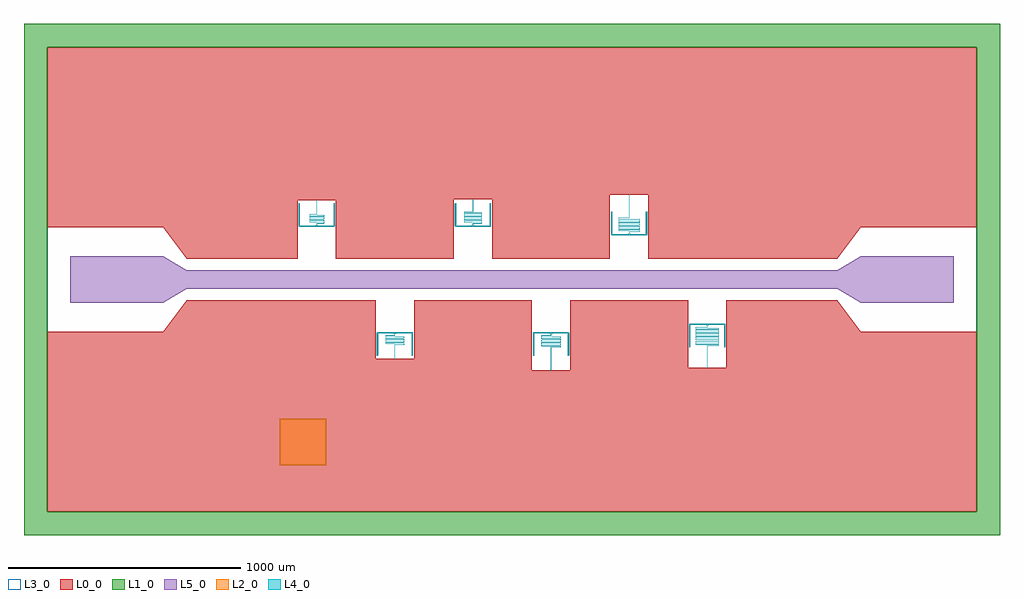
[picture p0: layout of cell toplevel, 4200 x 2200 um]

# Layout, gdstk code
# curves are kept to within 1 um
import gdstk
lib = gdstk.Library(unit=1e-6, precision=1e-09)
def R(c, l, rs):  # rectangles x0, y0, x1, y1
    for r in rs: c.add(gdstk.rectangle(r[:2], r[2:], *l))
def P(c, l, *ps):  # polygons
    for p in ps: c.add(gdstk.Polygon(p, *l))
L0_0 = (0, 0)
L1_0 = (1, 0)
L2_0 = (2, 0)
L3_0 = (3, 0)
L4_0 = (4, 0)
L5_0 = (5, 0)

toplevel = lib.new_cell('toplevel')
P(toplevel, L0_0, [(-757.5,341),(-757.5,90),(-250.5,90),(-250.5,346),(-85.5,346),(-85.5,90),(421.5,90),(421.5,365),(586.5,365),(586.5,90),(1400,90),(1500,225),(2000,225),(2000,1000),(-2000,1000),(-2000,225),(-1500,225),(-1400,90),(-922.5,90),(-922.5,341)],
  [(1400,-90),(922.5,-90),(922.5,-380),(757.5,-380),(757.5,-90),(250.5,-90),(250.5,-391),(85.5,-391),(85.5,-90),(-421.5,-90),(-421.5,-341),(-586.5,-341),(-586.5,-90),(-1400,-90),(-1500,-225),(-2000,-225),(-2000,-1000),(2000,-1000),(2000,-225),(1500,-225)])
P(toplevel, L1_0, [(2100,1100),(-2100,1100),(-2100,-1000),(-2000,-1000),(-2000,1000),(2000,1000),(2000,-1000),(-2000,-1000),(-2100,-1000),(-2100,-1100),(2100,-1100)])
R(toplevel, L2_0, [(-1000,-800,-800,-600)])
R(toplevel, L3_0, [(-2000,-1000,2000,1000)])
P(toplevel, L4_0, [(-839.7,239.925),(-839.566,240.536),(-839.02,240.699),(-809.78,240.71),(-808.933,241.13),(-808.7,242.101),(-808.75,245.468),(-809.13,246.067),(-809.828,246.293),(-869.888,246.3),(-870.646,246.605),(-870.689,250.197),(-870.127,250.695),(-809.923,250.702),(-808.79,251.401),(-808.738,255.416),(-809.1,256.044),(-809.81,256.292),(-869.888,256.3),(-870.644,256.598),(-870.682,260.251),(-870.145,260.694),(-809.946,260.701),(-808.797,261.381),(-808.733,265.39),(-809.058,266.008),(-809.816,266.292),(-869.95,266.3),(-870.64,266.589),(-870.687,270.21),(-870.15,270.693),(-810.008,270.7),(-808.81,271.348),(-808.736,275.403),(-809.082,276.029),(-809.786,276.29),(-869.95,276.3),(-870.632,276.57),(-870.691,280.176),(-870.247,280.682),(-840.963,280.701),(-839.834,281.296),(-839.7,341),(-840.3,341),(-840.375,281.555),(-841.02,281.3),(-870.364,281.271),(-871.272,280.358),(-871.178,276.322),(-869.986,275.7),(-809.85,275.693),(-809.312,275.206),(-809.364,271.579),(-810.05,271.3),(-870.214,271.29),(-870.918,271.029),(-871.263,270.409),(-871.198,266.368),(-870.763,265.864),(-869.992,265.7),(-809.864,265.694),(-809.31,265.189),(-809.365,261.576),(-809.985,261.301),(-870.19,261.292),(-870.918,261.029),(-871.264,260.403),(-871.208,256.394),(-870.077,255.702),(-809.855,255.694),(-809.309,255.176),(-809.356,251.598),(-810.112,251.3),(-870.22,251.289),(-870.912,251.034),(-871.265,250.396),(-871.232,246.467),(-870.814,245.894),(-870.077,245.702),(-809.824,245.691),(-809.315,245.227),(-809.308,241.828),(-809.985,241.301),(-839.481,241.246),(-840.278,240.32),(-840.3,236),(-850,231),(-910.62,231),(-912.259,231.263),(-912.5,232.9),(-912.502,326.109),(-912.952,327.434),(-914.043,328.31),(-915.326,328.479),(-916.607,327.915),(-917.266,327.056),(-917.5,326),(-917.475,231.954),(-916.915,229.4),(-915.563,227.507),(-913.447,226.346),(-910.644,226),(-769.356,226),(-766.888,226.253),(-764.934,227.118),(-763.131,229.296),(-762.504,232.513),(-762.5,326),(-763.085,327.607),(-764.353,328.415),(-765.752,328.384),(-766.983,327.522),(-767.498,326.109),(-767.5,232.88),(-767.751,231.251),(-769.38,231),(-830,231),(-839.7,236)],
  [(-504.302,-240.077),(-504.443,-240.546),(-504.919,-240.697),(-542.377,-240.731),(-543.085,-241.155),(-543.3,-242.058),(-543.267,-245.39),(-542.965,-245.987),(-542.39,-246.267),(-466.01,-246.3),(-465.432,-246.466),(-465.3,-247.122),(-465.32,-250.259),(-465.891,-250.696),(-541.981,-250.7),(-542.75,-250.857),(-543.19,-251.348),(-543.261,-255.416),(-542.9,-256.044),(-542.172,-256.293),(-466.06,-256.3),(-465.367,-256.573),(-465.313,-260.214),(-465.877,-260.695),(-541.975,-260.7),(-542.73,-260.847),(-543.172,-261.309),(-543.263,-265.409),(-542.906,-266.039),(-542.172,-266.293),(-466.06,-266.3),(-465.376,-266.552),(-465.313,-270.21),(-465.877,-270.695),(-541.97,-270.7),(-543.15,-271.263),(-543.265,-275.396),(-542.912,-276.034),(-542.178,-276.293),(-466.065,-276.3),(-465.388,-276.529),(-465.309,-280.18),(-465.79,-280.687),(-503.003,-280.7),(-504.117,-281.205),(-504.3,-341),(-503.7,-341),(-503.606,-281.518),(-502.96,-281.3),(-465.693,-281.28),(-465.041,-280.992),(-464.728,-280.358),(-464.864,-276.237),(-466.03,-275.7),(-542.123,-275.695),(-542.687,-275.21),(-542.618,-271.54),(-541.935,-271.3),(-465.828,-271.293),(-465.093,-271.039),(-464.736,-270.403),(-464.837,-266.289),(-466.025,-265.7),(-542.123,-265.695),(-542.687,-265.21),(-542.628,-261.561),(-541.94,-261.3),(-465.828,-261.293),(-465.099,-261.044),(-464.738,-260.416),(-464.816,-256.335),(-465.263,-255.85),(-466.025,-255.7),(-542.123,-255.695),(-542.687,-255.214),(-542.636,-251.579),(-541.94,-251.3),(-465.852,-251.295),(-465.07,-251.019),(-464.736,-250.403),(-464.8,-246.375),(-465.218,-245.875),(-465.969,-245.701),(-542.167,-245.692),(-542.685,-245.227),(-542.694,-241.855),(-542.548,-241.444),(-542.077,-241.302),(-504.584,-241.261),(-503.986,-240.936),(-503.726,-240.345),(-503.7,-236),(-494,-231),(-433.38,-231),(-431.741,-231.263),(-431.5,-232.88),(-431.498,-326.109),(-431.048,-327.434),(-429.957,-328.31),(-428.674,-328.479),(-427.393,-327.915),(-426.734,-327.056),(-426.5,-326),(-426.525,-231.954),(-427.1,-229.365),(-428.437,-227.507),(-430.552,-226.346),(-433.356,-226),(-574.644,-226),(-577.112,-226.253),(-579.066,-227.118),(-580.853,-229.261),(-581.496,-232.513),(-581.5,-326),(-580.915,-327.607),(-579.647,-328.415),(-578.248,-328.384),(-577.017,-327.522),(-576.502,-326.109),(-576.5,-232.88),(-576.254,-231.257),(-574.62,-231),(-514,-231),(-504.3,-236)],
  [(-167.7,239.93),(-167.559,240.544),(-167.005,240.699),(-131.316,240.707),(-130.461,241.093),(-130.2,242.101),(-130.257,245.494),(-130.624,246.062),(-131.358,246.295),(-204.388,246.3),(-205.148,246.612),(-205.184,250.239),(-204.654,250.693),(-131.463,250.701),(-130.718,250.875),(-130.3,251.375),(-130.236,255.403),(-130.57,256.019),(-131.346,256.294),(-204.445,256.3),(-205.139,256.586),(-205.187,260.214),(-204.627,260.695),(-131.519,260.7),(-130.75,260.857),(-130.31,261.348),(-130.238,265.416),(-130.593,266.039),(-131.322,266.293),(-204.44,266.3),(-205.132,266.57),(-205.187,270.21),(-204.627,270.695),(-131.525,270.7),(-130.776,270.843),(-130.331,271.302),(-130.236,275.403),(-130.593,276.039),(-131.322,276.293),(-204.44,276.3),(-205.121,276.546),(-205.187,280.21),(-204.627,280.695),(-131.53,280.7),(-130.357,281.25),(-130.235,285.396),(-130.587,286.034),(-131.316,286.292),(-204.435,286.3),(-205.109,286.524),(-205.191,290.176),(-204.714,290.687),(-168.991,290.701),(-167.89,291.192),(-167.7,346),(-168.3,346),(-168.399,291.511),(-169.04,291.3),(-204.82,291.278),(-205.47,290.982),(-205.774,290.345),(-205.629,286.224),(-204.47,285.7),(-131.373,285.695),(-130.812,285.206),(-130.885,281.535),(-131.56,281.3),(-204.684,281.292),(-205.412,281.034),(-205.765,280.396),(-205.657,276.276),(-205.211,275.837),(-204.475,275.7),(-131.373,275.695),(-130.813,275.21),(-130.873,271.558),(-131.56,271.3),(-204.678,271.293),(-205.406,271.039),(-205.763,270.409),(-205.681,266.328),(-205.237,265.85),(-204.481,265.7),(-131.373,265.695),(-130.813,265.214),(-130.864,261.579),(-131.555,261.3),(-204.678,261.293),(-205.406,261.039),(-205.762,260.416),(-205.695,256.361),(-205.256,255.86),(-204.481,255.7),(-131.386,255.696),(-130.819,255.255),(-130.855,251.602),(-131.505,251.3),(-204.653,251.294),(-205.394,251.048),(-205.765,250.396),(-205.708,246.394),(-205.224,245.843),(-204.388,245.7),(-131.346,245.693),(-130.944,245.548),(-130.801,245.044),(-130.808,241.828),(-131.172,241.334),(-167.428,241.259),(-168.019,240.93),(-168.275,240.339),(-168.3,236),(-178,231),(-238.62,231),(-240.243,231.246),(-240.5,232.9),(-240.502,326.109),(-240.952,327.434),(-242.043,328.31),(-243.326,328.479),(-244.607,327.915),(-245.266,327.056),(-245.5,326),(-245.475,231.954),(-244.915,229.4),(-243.563,227.507),(-241.447,226.346),(-238.644,226),(-97.356,226),(-94.888,226.253),(-92.934,227.118),(-91.869,228.1),(-91.1,229.365),(-90.503,232.563),(-90.5,326),(-91.085,327.607),(-92.353,328.415),(-93.752,328.384),(-94.983,327.522),(-95.498,326.109),(-95.5,232.88),(-95.751,231.251),(-97.38,231),(-158,231),(-167.7,236)],
  [(167.697,-240.077),(167.527,-240.574),(166.899,-240.7),(127.699,-240.719),(126.961,-241.093),(126.701,-241.98),(126.729,-245.364),(127.007,-245.959),(127.493,-246.24),(208.091,-246.303),(208.544,-246.441),(208.695,-246.868),(208.695,-250.123),(208.427,-250.633),(127.876,-250.704),(127.082,-250.971),(126.715,-251.73),(126.725,-255.339),(127.296,-256.166),(208.114,-256.304),(208.548,-256.444),(208.689,-256.807),(208.494,-260.598),(127.876,-260.704),(127.058,-260.991),(126.717,-261.718),(126.712,-265.238),(127.142,-266.076),(128.111,-266.3),(208.114,-266.304),(208.688,-266.798),(208.53,-270.572),(127.882,-270.704),(127.099,-270.956),(126.731,-271.623),(126.704,-275.124),(127.013,-275.965),(128.111,-276.3),(208.109,-276.304),(208.687,-276.786),(208.559,-280.544),(127.888,-280.704),(127.148,-280.92),(126.75,-281.532),(126.7,-284.997),(127.013,-285.965),(127.957,-286.299),(207.94,-286.3),(208.644,-286.598),(208.689,-290.193),(208.206,-290.688),(168.98,-290.701),(168.231,-290.868),(167.8,-291.375),(167.7,-391),(168.3,-391),(168.359,-291.592),(169.03,-291.3),(208.294,-291.281),(208.948,-291.003),(209.267,-290.39),(209.205,-286.388),(208.763,-285.864),(207.981,-285.7),(127.882,-285.695),(127.314,-285.218),(127.353,-281.608),(128.055,-281.3),(208.165,-281.294),(208.894,-281.048),(209.259,-280.428),(209.217,-276.421),(208.782,-275.875),(207.981,-275.7),(127.882,-275.695),(127.314,-275.223),(127.348,-271.622),(128.055,-271.3),(208.165,-271.294),(208.894,-271.048),(209.257,-270.435),(209.226,-266.447),(208.788,-265.879),(207.981,-265.7),(127.882,-265.695),(127.314,-265.223),(127.344,-261.636),(128.055,-261.3),(208.165,-261.294),(208.894,-261.048),(209.257,-260.435),(209.234,-256.473),(208.801,-255.887),(207.986,-255.7),(127.882,-255.695),(127.315,-255.227),(127.341,-251.646),(128.055,-251.3),(208.13,-251.296),(208.882,-251.058),(209.257,-250.435),(209.24,-246.493),(208.858,-245.924),(208.031,-245.701),(127.868,-245.695),(127.313,-245.214),(127.378,-241.549),(128.106,-241.3),(167.454,-241.253),(168.008,-240.942),(168.273,-240.351),(168.3,-236),(178,-231),(238.62,-231),(240.243,-231.246),(240.5,-232.9),(240.502,-326.109),(240.734,-327.056),(241.311,-327.843),(242.145,-328.349),(243.109,-328.498),(244.768,-327.768),(245.498,-326.109),(245.5,-232.88),(245.154,-230.052),(243.964,-227.905),(242.031,-226.556),(239.327,-226.014),(97.356,-226),(95.02,-226.221),(93.07,-227.027),(91.923,-228.034),(91.147,-229.261),(90.505,-232.462),(90.5,-326),(90.69,-326.957),(91.311,-327.843),(92.248,-328.384),(93.218,-328.49),(94.768,-327.768),(95.498,-326.109),(95.5,-232.88),(95.751,-231.251),(97.38,-231),(158,-231),(167.7,-236)],
  [(504.3,203.93),(504.421,204.521),(504.933,204.698),(548.332,204.724),(549.058,205.118),(549.299,205.98),(549.269,209.377),(549.024,209.924),(548.474,210.248),(459.919,210.303),(459.458,210.439),(459.306,210.864),(459.305,214.123),(459.573,214.633),(548.118,214.704),(548.948,214.997),(549.29,215.786),(549.274,219.345),(548.652,220.19),(459.886,220.304),(459.452,220.444),(459.311,220.803),(459.304,224.104),(459.508,224.599),(548.118,224.704),(548.936,224.986),(549.282,225.712),(549.287,229.245),(548.852,230.08),(547.888,230.3),(459.891,230.304),(459.458,230.439),(459.312,230.794),(459.472,234.574),(548.112,234.703),(548.894,234.952),(549.269,235.623),(549.288,239.238),(548.953,239.998),(547.888,240.3),(459.896,240.304),(459.464,240.433),(459.314,240.782),(459.443,244.546),(548.106,244.703),(548.912,244.966),(549.264,245.597),(549.296,249.124),(549.019,249.93),(547.888,250.3),(459.896,250.304),(459.47,250.428),(459.315,250.773),(459.416,254.514),(460.117,254.7),(548.106,254.703),(548.833,254.907),(549.241,255.5),(549.299,258.997),(548.987,259.965),(548.037,260.299),(460.065,260.3),(459.363,260.582),(459.311,264.193),(459.807,264.689),(503.008,264.701),(503.75,264.857),(504.184,265.335),(504.3,365),(503.7,365),(503.633,265.573),(502.96,265.3),(459.724,265.284),(459.058,265.008),(458.733,264.39),(458.808,260.355),(459.25,259.857),(460.03,259.7),(548.104,259.696),(548.528,259.574),(548.686,259.223),(548.641,255.592),(547.94,255.3),(459.846,255.294),(459.105,255.048),(458.741,254.428),(458.795,250.388),(459.237,249.864),(460.025,249.7),(548.109,249.696),(548.528,249.574),(548.686,249.223),(548.646,245.605),(547.94,245.3),(459.846,245.294),(459.105,245.048),(458.741,244.428),(458.785,240.414),(459.224,239.871),(460.025,239.7),(548.109,239.696),(548.528,239.574),(548.686,239.223),(548.651,235.618),(547.94,235.3),(459.852,235.295),(459.112,235.053),(458.743,234.435),(458.776,230.44),(459.211,229.879),(460.025,229.7),(548.109,229.696),(548.528,229.574),(548.685,229.227),(548.655,225.632),(547.94,225.3),(459.852,225.295),(459.112,225.053),(458.744,224.441),(458.768,220.467),(459.199,219.887),(460.019,219.7),(548.109,219.696),(548.528,219.574),(548.685,219.227),(548.657,215.639),(547.945,215.3),(459.882,215.296),(459.118,215.058),(458.743,214.435),(458.762,210.487),(459.186,209.894),(459.98,209.701),(548.063,209.698),(548.528,209.574),(548.686,209.218),(548.622,205.549),(547.894,205.3),(504.571,205.259),(504.002,204.953),(503.728,204.358),(503.7,200),(494,195),(433.38,195),(431.765,195.24),(431.5,196.88),(431.498,290.109),(431.266,291.056),(430.689,291.843),(429.855,292.349),(428.891,292.498),(427.943,292.266),(427.232,291.768),(426.69,290.957),(426.502,290.109),(426.5,196.856),(426.846,194.052),(428.007,191.937),(429.935,190.57),(432.673,190.014),(574.644,190),(576.98,190.221),(578.93,191.027),(580.077,192.034),(580.853,193.261),(581.321,194.715),(581.495,196.462),(581.5,290),(581.31,290.957),(580.689,291.843),(579.752,292.384),(578.782,292.49),(577.232,291.768),(576.69,290.957),(576.502,290.109),(576.5,196.88),(576.254,195.257),(574.62,195),(514,195),(504.3,200)],
  [(839.697,-204.081),(839.548,-204.555),(839.058,-204.698),(790.693,-204.72),(789.956,-205.099),(789.701,-205.963),(789.731,-209.377),(790.029,-209.982),(790.604,-210.265),(889.091,-210.303),(889.544,-210.441),(889.695,-210.868),(889.692,-214.163),(889.375,-214.653),(790.894,-214.703),(790.029,-215.018),(789.712,-215.768),(789.726,-219.345),(789.961,-219.906),(790.388,-220.205),(889.109,-220.304),(889.546,-220.443),(889.697,-220.905),(889.696,-224.109),(889.445,-224.625),(790.888,-224.703),(790.064,-224.986),(789.718,-225.712),(789.713,-229.245),(790.192,-230.109),(791.117,-230.3),(889.109,-230.304),(889.542,-230.439),(889.688,-230.794),(889.696,-234.109),(889.523,-234.577),(790.894,-234.703),(790.07,-234.981),(789.72,-235.693),(789.713,-239.245),(790.082,-240.029),(791.117,-240.3),(889.104,-240.304),(889.538,-240.435),(889.687,-240.786),(889.556,-244.548),(888.883,-244.7),(790.894,-244.703),(790.082,-244.971),(789.723,-245.674),(789.704,-249.124),(790.018,-249.97),(791.117,-250.3),(889.1,-250.304),(889.532,-250.43),(889.686,-250.777),(889.556,-254.548),(888.883,-254.7),(790.9,-254.703),(790.1,-254.956),(789.727,-255.649),(789.704,-259.124),(789.956,-259.9),(790.44,-260.224),(791.117,-260.3),(889.095,-260.303),(889.523,-260.423),(889.69,-260.811),(889.582,-264.516),(888.883,-264.7),(790.792,-264.709),(790.047,-265.002),(789.73,-265.63),(789.704,-269.124),(789.928,-269.864),(790.394,-270.208),(791.117,-270.3),(889.095,-270.303),(889.546,-270.443),(889.689,-270.807),(889.607,-274.479),(888.883,-274.7),(790.911,-274.702),(790.199,-274.887),(789.772,-275.454),(789.7,-278.992),(790.013,-279.965),(790.974,-280.299),(888.93,-280.3),(889.625,-280.555),(889.689,-284.193),(889.548,-284.555),(889.176,-284.691),(841.003,-284.7),(840.283,-284.84),(839.843,-285.276),(839.7,-286.079),(839.7,-380),(840.3,-380),(840.379,-285.546),(841.045,-285.3),(889.251,-285.287),(889.936,-285.014),(890.268,-284.383),(890.166,-280.296),(889.717,-279.84),(888.964,-279.7),(790.905,-279.697),(790.472,-279.574),(790.314,-279.218),(790.371,-275.564),(791.065,-275.3),(889.136,-275.295),(889.888,-275.053),(890.26,-274.422),(890.181,-270.328),(889.73,-269.847),(888.964,-269.7),(790.905,-269.697),(790.475,-269.575),(790.314,-269.223),(790.364,-265.579),(791.065,-265.3),(889.136,-265.295),(889.888,-265.053),(890.259,-264.428),(890.195,-260.361),(889.75,-259.857),(888.97,-259.7),(790.905,-259.697),(790.475,-259.575),(790.315,-259.227),(790.358,-255.595),(791.065,-255.3),(889.136,-255.295),(889.882,-255.058),(890.257,-254.435),(890.208,-250.394),(889.763,-249.864),(888.97,-249.7),(790.905,-249.697),(790.475,-249.575),(790.315,-249.227),(790.353,-245.608),(791.065,-245.3),(889.136,-245.295),(889.882,-245.058),(890.257,-244.435),(890.215,-240.414),(889.776,-239.871),(888.97,-239.7),(790.905,-239.697),(790.475,-239.575),(790.315,-239.227),(790.349,-235.618),(790.567,-235.369),(791.06,-235.3),(889.136,-235.295),(889.882,-235.058),(890.256,-234.441),(890.224,-230.44),(889.782,-229.875),(888.97,-229.7),(790.905,-229.697),(790.477,-229.577),(790.315,-229.231),(790.345,-225.632),(790.561,-225.372),(791.06,-225.3),(889.136,-225.295),(889.882,-225.058),(890.256,-224.441),(890.23,-220.46),(889.795,-219.883),(888.975,-219.7),(790.914,-219.697),(790.488,-219.586),(790.32,-219.263),(790.345,-215.632),(790.558,-215.373),(791.025,-215.3),(889.196,-215.292),(889.882,-215.058),(890.256,-214.441),(890.243,-210.506),(889.845,-209.915),(889.031,-209.701),(790.937,-209.698),(790.47,-209.572),(790.314,-209.218),(790.359,-205.592),(791.106,-205.3),(839.403,-205.264),(839.987,-204.965),(840.271,-204.364),(840.3,-200),(850,-195),(910.62,-195),(912.218,-195.228),(912.5,-196.9),(912.502,-290.109),(912.734,-291.056),(913.311,-291.843),(914.145,-292.349),(915.109,-292.498),(915.957,-292.31),(916.768,-291.768),(917.31,-290.957),(917.498,-290.109),(917.5,-196.88),(917.154,-194.052),(916.678,-192.915),(915.964,-191.905),(914.031,-190.556),(911.327,-190.014),(769.356,-190),(767.02,-190.221),(765.07,-191.027),(763.923,-192.034),(763.147,-193.261),(762.679,-194.715),(762.505,-196.462),(762.5,-290),(762.69,-290.957),(763.311,-291.843),(764.248,-292.384),(765.218,-292.49),(766.056,-292.266),(766.768,-291.768),(767.31,-290.957),(767.498,-290.109),(767.5,-196.88),(767.751,-195.251),(769.38,-195),(830,-195),(839.7,-200)])
P(toplevel, L5_0, [(-1400,40),(-1500,100),(-1900,100),(-1900,-100),(-1500,-100),(-1400,-40),(1400,-40),(1500,-100),(1900,-100),(1900,100),(1500,100),(1400,40)])

lib.write_gds('toplevel.gds')
